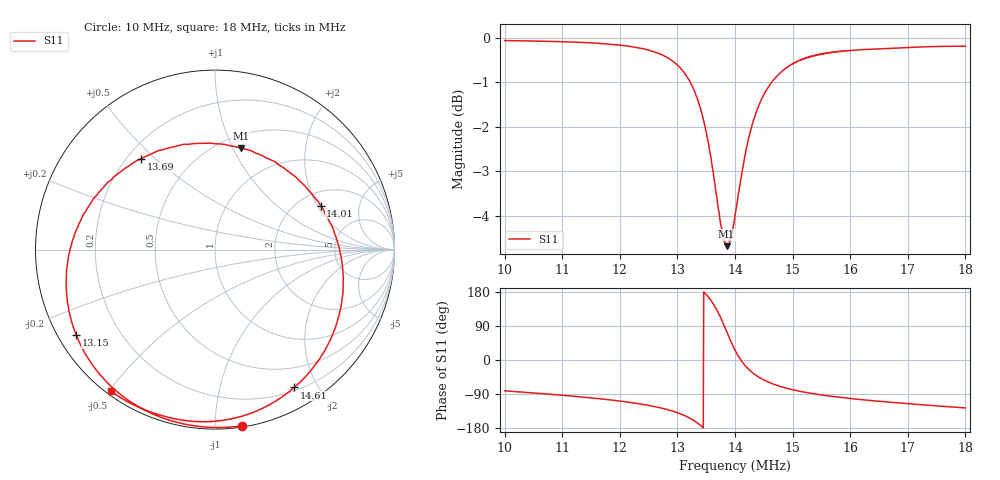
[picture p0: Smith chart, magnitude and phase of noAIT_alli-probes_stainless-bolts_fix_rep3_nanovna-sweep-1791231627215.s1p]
! NanoVNA Web complex sweep
! Processing: unaveraged complex samples; linear segment spacing; no smoothing
# Hz S RI R 50
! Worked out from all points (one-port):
!   1010 points, 10 MHz to 18 MHz, reference 50 ohm
!   lowest |S11| = -4.7 dB at 13.85 MHz (marker M1), VSWR 3.80, Z = 31.3 + j53.7 ohm
!   |S11| at or under -10 dB: nowhere
!   S11 on the Smith chart (normalised r, x): 10 MHz: 0.01, -1.16; 13.15 MHz: 0.05, -0.28; 13.69 MHz: 0.26, +0.45; 14.01 MHz: 2.59, +2.14; 14.61 MHz: 0.24, -1.70; 18 MHz: 0.01, -0.50
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1e7  0.149 -0.9818
1.100698e7  -0.0537 -0.9886
1.200604e7  -0.31 -0.931
1.260071e7  -0.522 -0.811
1.282272e7  -0.62 -0.7203
1.300509e7  -0.7067 -0.6065
1.314781e7  -0.7724 -0.4773
1.331432e7  -0.8256 -0.2592
1.34729e7  -0.7969 0.0383
1.358391e7  -0.6753 0.287
1.363941e7  -0.5625 0.4056
1.369491e7  -0.4126 0.5051
1.37742e7  -0.1474 0.5867
1.385349e7  0.1435 0.5652
1.393278e7  0.4032 0.4395
1.400414e7  0.5754 0.2671
1.401207e7  0.5884 0.2451
1.407551e7  0.6736 0.0715
1.413894e7  0.7106 -0.0961
1.429752e7  0.6715 -0.4315
1.444024e7  0.5694 -0.6274
1.460675e7  0.4413 -0.7682
1.478119e7  0.3182 -0.8556
1.50032e7  0.1868 -0.9168
1.545515e7  -0.0189 -0.9578
1.600225e7  -0.1936 -0.9481
1.700131e7  -0.4159 -0.8821
1.800036e7  -0.5814 -0.7873
